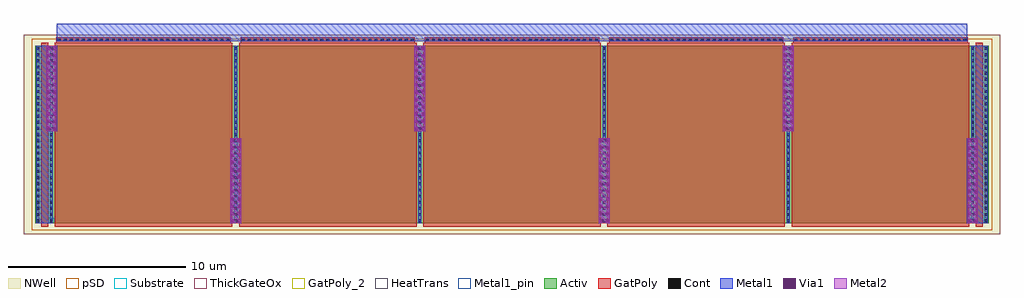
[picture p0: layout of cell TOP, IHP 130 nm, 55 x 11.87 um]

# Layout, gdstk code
import gdstk
lib = gdstk.Library(unit=1e-6, precision=1e-09)
def R(c, l, rs):  # rectangles x0, y0, x1, y1
    for r in rs: c.add(gdstk.rectangle(r[:2], r[2:], *l))
def A(c, l, x, y, w, h, nx, ny, dx, dy):  # array of equal rectangles
    R(c, l, [(x+i*dx, y+j*dy, x+i*dx+w, y+j*dy+h) for i in range(nx) for j in range(ny)])
Activ = (1, 0)
GatPoly = (5, 0)
GatPoly_2 = (5, 2)
Cont = (6, 0)
Metal1 = (8, 0)
Metal1_pin = (8, 2)
Metal2 = (10, 0)
pSD = (14, 0)
Via1 = (19, 0)
NWell = (31, 0)
Substrate = (40, 0)
ThickGateOx = (44, 0)
HeatTrans = (51, 0)

pmoshv = lib.new_cell('pmosHV')
A(pmoshv, Activ, 0, 0, 0.3, 0.3, 6, 1, 10.38, 0)
R(pmoshv, Activ, [(0,0,52.2,10)])
A(pmoshv, GatPoly, 0.34, -0.18, 10, 10.36, 5, 1, 10.38, 0)
R(pmoshv, GatPoly_2, [(0.34,-0.18,10.34,10.18)])
A(pmoshv, Cont, 0.07, 0.07, 0.16, 0.16, 6, 4, 10.38, 0.345)
A(pmoshv, Cont, 0.07, 1.455, 0.16, 0.16, 6, 3, 10.38, 0.345)
A(pmoshv, Cont, 0.07, 2.495, 0.16, 0.16, 6, 4, 10.38, 0.345)
A(pmoshv, Cont, 0.07, 3.88, 0.16, 0.16, 6, 3, 10.38, 0.345)
A(pmoshv, Cont, 0.07, 4.92, 0.16, 0.16, 6, 4, 10.38, 0.345)
A(pmoshv, Cont, 0.07, 6.305, 0.16, 0.16, 6, 3, 10.38, 0.345)
A(pmoshv, Cont, 0.07, 7.345, 0.16, 0.16, 6, 4, 10.38, 0.345)
A(pmoshv, Cont, 0.07, 8.73, 0.16, 0.16, 6, 3, 10.38, 0.345)
A(pmoshv, Cont, 0.07, 9.77, 0.16, 0.16, 6, 1, 10.38, 0)
A(pmoshv, Metal1, 0.07, 0, 0.16, 10, 6, 1, 10.38, 0)
R(pmoshv, Metal1_pin, [(0.07,0,0.23,10), (10.45,0,10.61,10)])
R(pmoshv, pSD, [(-0.18,-0.4,52.38,10.4)])
R(pmoshv, NWell, [(-0.62,-0.62,52.82,10.62)])
R(pmoshv, Substrate, [(51.9,0,52.2,0.3)])
R(pmoshv, ThickGateOx, [(-0.62,-0.62,52.82,10.62)])
A(pmoshv, HeatTrans, 0.34, -0.18, 10, 10.36, 5, 1, 10.38, 0)
pmoshv.add(gdstk.Label('pmosHV', (5.34,5), layer=63, texttype=0))
pmoshv.add(gdstk.Label('pmos', (5.34,5), layer=51, texttype=0))
pmoshv.add(gdstk.Label('pmos', (15.72,5), layer=51, texttype=0))
pmoshv.add(gdstk.Label('pmos', (26.1,5), layer=51, texttype=0))
pmoshv.add(gdstk.Label('pmos', (36.48,5), layer=51, texttype=0))
pmoshv.add(gdstk.Label('pmos', (46.86,5), layer=51, texttype=0))

pmoshv_2 = lib.new_cell('pmosHV$2')
R(pmoshv_2, Activ, [(0,0,0.3,0.3), (0,0,1.08,10), (0.78,0,1.08,0.3)])
R(pmoshv_2, GatPoly, [(0.34,-0.18,0.74,10.18)])
R(pmoshv_2, GatPoly_2, [(0.34,-0.18,0.74,10.18)])
A(pmoshv_2, Cont, 0.07, 0.07, 0.16, 0.16, 1, 4, 0, 0.345)
A(pmoshv_2, Cont, 0.85, 0.07, 0.16, 0.16, 1, 4, 0, 0.345)
A(pmoshv_2, Cont, 0.07, 1.455, 0.16, 0.16, 1, 3, 0, 0.345)
A(pmoshv_2, Cont, 0.85, 1.455, 0.16, 0.16, 1, 3, 0, 0.345)
A(pmoshv_2, Cont, 0.07, 2.495, 0.16, 0.16, 1, 4, 0, 0.345)
A(pmoshv_2, Cont, 0.85, 2.495, 0.16, 0.16, 1, 4, 0, 0.345)
A(pmoshv_2, Cont, 0.07, 3.88, 0.16, 0.16, 1, 3, 0, 0.345)
A(pmoshv_2, Cont, 0.85, 3.88, 0.16, 0.16, 1, 3, 0, 0.345)
A(pmoshv_2, Cont, 0.07, 4.92, 0.16, 0.16, 1, 4, 0, 0.345)
A(pmoshv_2, Cont, 0.85, 4.92, 0.16, 0.16, 1, 4, 0, 0.345)
A(pmoshv_2, Cont, 0.07, 6.305, 0.16, 0.16, 1, 3, 0, 0.345)
A(pmoshv_2, Cont, 0.85, 6.305, 0.16, 0.16, 1, 3, 0, 0.345)
A(pmoshv_2, Cont, 0.07, 7.345, 0.16, 0.16, 1, 4, 0, 0.345)
A(pmoshv_2, Cont, 0.85, 7.345, 0.16, 0.16, 1, 4, 0, 0.345)
A(pmoshv_2, Cont, 0.07, 8.73, 0.16, 0.16, 1, 3, 0, 0.345)
A(pmoshv_2, Cont, 0.85, 8.73, 0.16, 0.16, 1, 3, 0, 0.345)
R(pmoshv_2, Cont, [(0.07,9.77,0.23,9.93), (0.85,9.77,1.01,9.93)])
R(pmoshv_2, Metal1, [(0.07,0,0.23,10), (0.85,0,1.01,10)])
R(pmoshv_2, Metal1_pin, [(0.07,0,0.23,10), (0.85,0,1.01,10)])
R(pmoshv_2, pSD, [(-0.18,-0.4,1.26,10.4)])
R(pmoshv_2, NWell, [(-0.62,-0.62,1.7,10.62)])
R(pmoshv_2, Substrate, [(0.78,0,1.08,0.3)])
R(pmoshv_2, ThickGateOx, [(-0.62,-0.62,1.7,10.62)])
R(pmoshv_2, HeatTrans, [(0.34,-0.18,0.74,10.18)])
pmoshv_2.add(gdstk.Label('pmosHV', (0.54,5), layer=63, texttype=0))
pmoshv_2.add(gdstk.Label('pmos', (0.54,5), layer=51, texttype=0))

via_stack_1 = lib.new_cell('via_stack$1')
R(via_stack_1, Metal1, [(-0.31,-2.4,0.31,2.4)])
R(via_stack_1, Metal2, [(-0.305,-2.4,0.305,2.4)])
A(via_stack_1, Via1, -0.3, -2.35, 0.19, 0.19, 1, 12, 0, 0.41)
A(via_stack_1, Via1, 0.11, -2.35, 0.19, 0.19, 1, 12, 0, 0.41)

via_stack = lib.new_cell('via_stack')
R(via_stack, GatPoly, [(-4.91,-0.15,4.91,0.15)])
A(via_stack, Cont, -4.84, -0.08, 0.16, 0.16, 29, 1, 0.34, 0)
R(via_stack, Metal1, [(-4.89,-0.08,4.89,0.08)])

top = lib.new_cell('TOP')
R(top, Metal1, [(0.07,0.62,0.69,10.62), (52.75,0.62,53.37,10.62), (1.07,10.87,52.37,11.87)])
top.add(gdstk.Reference(pmoshv, (0.62,0.62)))
top.add(gdstk.Reference(pmoshv_2, (52.52,0.62)))
top.add(gdstk.Reference(pmoshv_2, (-0.16,0.62)))
top.add(gdstk.Reference(via_stack_1, (0.77,8.22)))
top.add(gdstk.Reference(via_stack, (5.96,10.95)))
top.add(gdstk.Reference(via_stack, (16.34,10.95)))
top.add(gdstk.Reference(via_stack, (26.72,10.95)))
top.add(gdstk.Reference(via_stack, (37.1,10.95)))
top.add(gdstk.Reference(via_stack, (47.48,10.95)))
top.add(gdstk.Reference(via_stack_1, (21.53,8.22)))
top.add(gdstk.Reference(via_stack_1, (42.29,8.22)))
top.add(gdstk.Reference(via_stack_1, (0.77,8.22)))
top.add(gdstk.Reference(via_stack_1, (21.53,8.22)))
top.add(gdstk.Reference(via_stack_1, (42.29,8.22)))
top.add(gdstk.Reference(via_stack_1, (11.15,3.02)))
top.add(gdstk.Reference(via_stack_1, (31.91,3.02)))
top.add(gdstk.Reference(via_stack_1, (52.67,3.02)))

lib.write_gds('TOP.gds')
